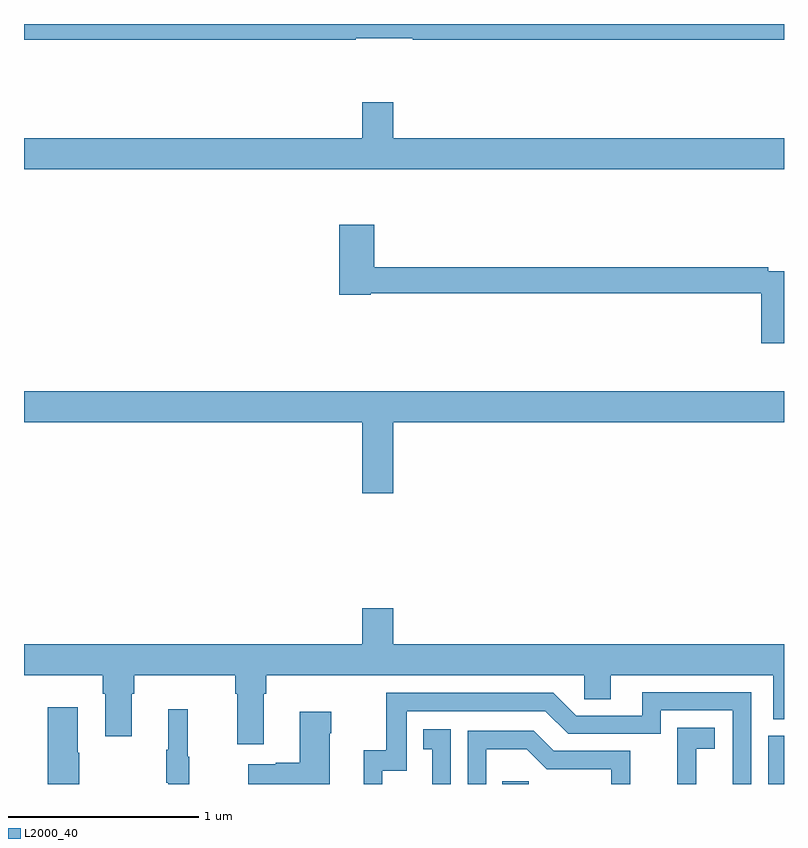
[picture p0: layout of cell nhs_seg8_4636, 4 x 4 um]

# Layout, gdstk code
import gdstk
lib = gdstk.Library(unit=1e-6, precision=1e-09)
def R(c, l, rs):  # rectangles x0, y0, x1, y1
    for r in rs: c.add(gdstk.rectangle(r[:2], r[2:], *l))
def P(c, l, *ps):  # polygons
    for p in ps: c.add(gdstk.Polygon(p, *l))
L2000_40 = (2000, 40)

nhs_seg8_4636 = lib.new_cell('nhs_seg8_4636')
R(nhs_seg8_4636, L2000_40, [(393.517,1143.9,393.657,1143.915), (394.917,1143.9,395,1144.155)])
P(nhs_seg8_4636, L2000_40, [(392.746,1147.824),(393.046,1147.824),(393.046,1147.816),(395,1147.816),(395,1147.9),(391,1147.9),(391,1147.816),(392.746,1147.816)],
  [(395,1147.3),(392.944,1147.3),(392.944,1147.489),(392.78,1147.489),(392.78,1147.3),(391,1147.3),(391,1147.136),(395,1147.136)],
  [(395,1146.6),(394.916,1146.6),(394.916,1146.62),(392.843,1146.62),(392.843,1146.844),(392.66,1146.844),(392.66,1146.476),(392.826,1146.476),(392.826,1146.484),(394.88,1146.484),(394.88,1146.219),(395,1146.219)],
  [(392.944,1145.804),(395,1145.804),(395,1145.968),(391,1145.968),(391,1145.804),(392.78,1145.804),(392.78,1145.43),(392.944,1145.43)],
  [(392.263,1144.376),(392.276,1144.376),(392.276,1144.472),(393.948,1144.472),(393.948,1144.345),(394.087,1144.345),(394.087,1144.472),(394.943,1144.472),(394.943,1144.24),(395,1144.24),(395,1144.636),(392.944,1144.636),(392.944,1144.825),(392.78,1144.825),(392.78,1144.636),(391,1144.636),(391,1144.472),(391.415,1144.472),(391.415,1144.376),(391.427,1144.376),(391.427,1144.152),(391.567,1144.152),(391.567,1144.376),(391.58,1144.376),(391.58,1144.472),(392.111,1144.472),(392.111,1144.376),(392.123,1144.376),(392.123,1144.11),(392.263,1144.11)],
  [(392.886,1143.969),(393.015,1143.969),(393.015,1144.284),(393.744,1144.284),(393.864,1144.164),(394.35,1144.164),(394.35,1144.287),(394.731,1144.287),(394.731,1143.9),(394.827,1143.9),(394.827,1144.383),(394.253,1144.383),(394.253,1144.26),(393.906,1144.26),(393.786,1144.38),(392.907,1144.38),(392.907,1144.078),(392.789,1144.078),(392.789,1143.9),(392.886,1143.9)],
  [(391.29,1144.064),(391.282,1144.064),(391.282,1144.303),(391.124,1144.303),(391.124,1143.9),(391.29,1143.9)],
  [(391.87,1144.044),(391.862,1144.044),(391.862,1144.294),(391.76,1144.294),(391.76,1144.081),(391.749,1144.081),(391.749,1143.907),(391.76,1143.907),(391.76,1143.9),(391.87,1143.9)],
  [(392.608,1144.166),(392.616,1144.166),(392.616,1144.279),(392.45,1144.279),(392.45,1144.013),(392.324,1144.013),(392.324,1144.003),(392.181,1144.003),(392.181,1143.9),(392.608,1143.9)],
  [(394.538,1144.085),(394.636,1144.085),(394.636,1144.195),(394.438,1144.195),(394.438,1143.989),(394.439,1143.989),(394.439,1143.9),(394.538,1143.9)],
  [(393.246,1144.189),(393.1,1144.189),(393.1,1144.083),(393.149,1144.083),(393.149,1143.9),(393.246,1143.9)],
  [(393.432,1144.082),(393.646,1144.082),(393.75,1143.978),(394.092,1143.978),(394.092,1143.9),(394.191,1143.9),(394.191,1144.074),(393.787,1144.074),(393.682,1144.179),(393.336,1144.179),(393.336,1143.9),(393.432,1143.9)])

lib.write_gds('nhs_seg8_4636.gds')
